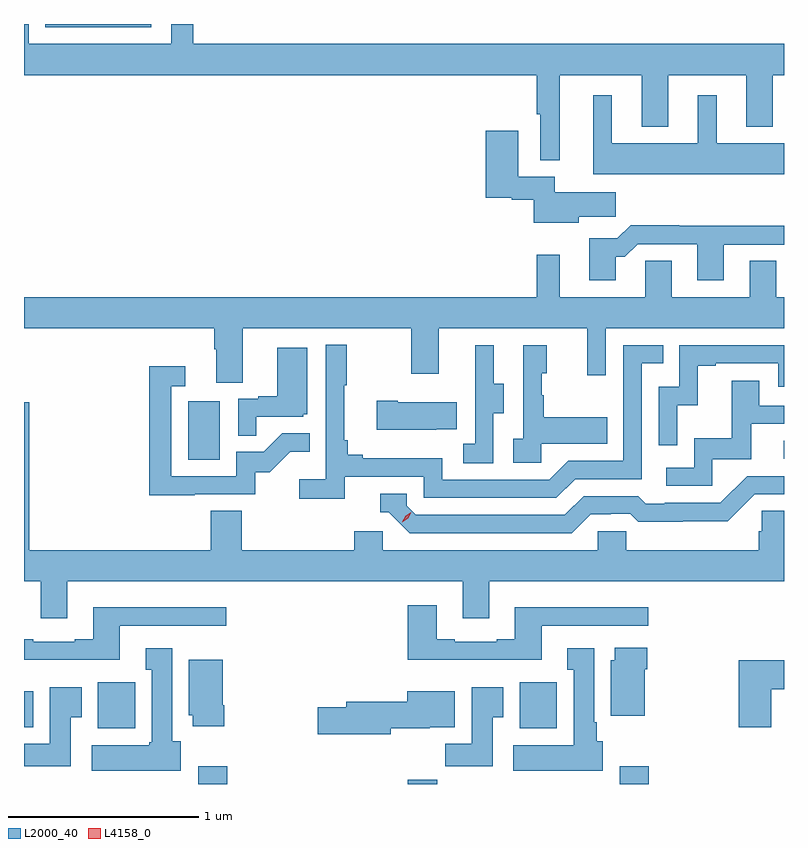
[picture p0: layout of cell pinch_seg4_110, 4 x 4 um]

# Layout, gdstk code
import gdstk
lib = gdstk.Library(unit=1e-6, precision=1e-09)
def R(c, l, rs):  # rectangles x0, y0, x1, y1
    for r in rs: c.add(gdstk.rectangle(r[:2], r[2:], *l))
def P(c, l, *ps):  # polygons
    for p in ps: c.add(gdstk.Polygon(p, *l))
L2000_40 = (2000, 40)
L4158_0 = (4158, 0)

pinch_seg4_110 = lib.new_cell('pinch_seg4_110')
R(pinch_seg4_110, L2000_40, [(1058.033,803.745,1058.186,803.839), (1059.137,803.745,1059.293,803.768), (1060.253,803.745,1060.406,803.839), (1057.505,804.038,1057.702,804.28), (1059.725,804.038,1059.922,804.28), (1057.117,804.044,1057.165,804.232), (1057.982,805.452,1058.146,805.759), (1061.115,805.458,1061.117,805.551), (1057.23,807.729,1057.788,807.745)])
P(pinch_seg4_110, L2000_40, [(1059.937,807.476),(1060.367,807.476),(1060.367,807.203),(1060.507,807.203),(1060.507,807.476),(1060.919,807.476),(1060.919,807.203),(1061.059,807.203),(1061.059,807.476),(1061.117,807.476),(1061.117,807.64),(1058.009,807.64),(1058.009,807.745),(1057.893,807.745),(1057.893,807.64),(1057.141,807.64),(1057.141,807.745),(1057.117,807.745),(1057.117,807.476),(1059.816,807.476),(1059.816,807.271),(1059.833,807.271),(1059.833,807.027),(1059.937,807.027)],
  [(1061.117,807.118),(1060.762,807.118),(1060.762,807.37),(1060.664,807.37),(1060.664,807.118),(1060.21,807.118),(1060.21,807.37),(1060.112,807.37),(1060.112,806.954),(1061.117,806.954)],
  [(1060.036,806.731),(1060.231,806.731),(1060.231,806.86),(1059.91,806.86),(1059.91,806.941),(1059.718,806.941),(1059.718,807.184),(1059.548,807.184),(1059.548,806.831),(1059.684,806.831),(1059.684,806.819),(1059.8,806.819),(1059.8,806.699),(1060.036,806.699)],
  [(1060.231,806.519),(1060.28,806.519),(1060.347,806.586),(1060.661,806.586),(1060.661,806.397),(1060.801,806.397),(1060.801,806.583),(1061.117,806.583),(1061.117,806.684),(1060.565,806.684),(1060.565,806.687),(1060.31,806.687),(1060.24,806.617),(1060.091,806.617),(1060.091,806.397),(1060.231,806.397)],
  [(1058.269,806.144),(1059.154,806.144),(1059.154,805.905),(1059.301,805.905),(1059.301,806.144),(1060.082,806.144),(1060.082,805.896),(1060.179,805.896),(1060.179,806.144),(1061.117,806.144),(1061.117,806.308),(1061.077,806.308),(1061.077,806.498),(1060.937,806.498),(1060.937,806.308),(1060.525,806.308),(1060.525,806.498),(1060.386,806.498),(1060.386,806.308),(1059.937,806.308),(1059.937,806.53),(1059.816,806.53),(1059.816,806.308),(1057.117,806.308),(1057.117,806.144),(1058.117,806.144),(1058.117,806.032),(1058.129,806.032),(1058.129,805.858),(1058.269,805.858)],
  [(1058.804,805.362),(1059.222,805.362),(1059.222,805.251),(1059.919,805.251),(1060.018,805.35),(1060.368,805.35),(1060.368,805.959),(1060.481,805.959),(1060.481,806.055),(1060.272,806.055),(1060.272,805.446),(1059.981,805.446),(1059.882,805.347),(1059.318,805.347),(1059.318,805.459),(1058.899,805.459),(1058.899,805.478),(1058.822,805.478),(1058.822,805.555),(1058.803,805.555),(1058.803,805.843),(1058.815,805.843),(1058.815,806.056),(1058.706,806.056),(1058.706,805.348),(1058.565,805.348),(1058.565,805.246),(1058.804,805.246)],
  [(1060.554,805.739),(1060.664,805.739),(1060.664,805.947),(1060.759,805.947),(1060.759,805.959),(1061.088,805.959),(1061.088,805.836),(1061.117,805.836),(1061.117,806.055),(1060.566,806.055),(1060.566,805.836),(1060.458,805.836),(1060.458,805.527),(1060.554,805.527)],
  [(1059.84,805.535),(1060.187,805.535),(1060.187,805.675),(1059.853,805.675),(1059.853,805.79),(1059.843,805.79),(1059.843,805.908),(1059.868,805.908),(1059.868,806.053),(1059.744,806.053),(1059.744,805.562),(1059.693,805.562),(1059.693,805.437),(1059.84,805.437)],
  [(1059.588,805.696),(1059.643,805.696),(1059.643,805.851),(1059.589,805.851),(1059.589,806.053),(1059.491,806.053),(1059.491,805.839),(1059.492,805.839),(1059.492,805.535),(1059.429,805.535),(1059.429,805.432),(1059.588,805.432)],
  [(1058.339,805.677),(1058.586,805.677),(1058.586,805.692),(1058.608,805.692),(1058.608,806.041),(1058.45,806.041),(1058.45,805.786),(1058.351,805.786),(1058.351,805.773),(1058.244,805.773),(1058.244,805.579),(1058.339,805.579)],
  [(1058.015,805.269),(1058.334,805.269),(1058.334,805.386),(1058.41,805.386),(1058.517,805.493),(1058.621,805.493),(1058.621,805.592),(1058.477,805.592),(1058.379,805.494),(1058.235,805.494),(1058.235,805.365),(1057.893,805.365),(1057.893,805.839),(1057.966,805.839),(1057.966,805.945),(1057.777,805.945),(1057.777,805.264),(1058.015,805.264)],
  [(1060.74,805.455),(1060.945,805.455),(1060.945,805.641),(1061.117,805.641),(1061.117,805.737),(1060.987,805.737),(1060.987,805.867),(1060.843,805.867),(1060.843,805.564),(1060.644,805.564),(1060.644,805.41),(1060.497,805.41),(1060.497,805.314),(1060.74,805.314)],
  [(1059.287,805.613),(1059.395,805.613),(1059.395,805.753),(1059.085,805.753),(1059.085,805.761),(1058.973,805.761),(1058.973,805.61),(1059.287,805.61)],
  [(1057.345,804.812),(1059.425,804.812),(1059.425,804.618),(1059.565,804.618),(1059.565,804.812),(1061.117,804.812),(1061.117,805.184),(1060.999,805.184),(1060.999,805.074),(1060.985,805.074),(1060.985,804.976),(1060.287,804.976),(1060.287,805.074),(1060.137,805.074),(1060.137,804.976),(1059.006,804.976),(1059.006,805.074),(1058.855,805.074),(1058.855,804.976),(1058.264,804.976),(1058.264,805.184),(1058.099,805.184),(1058.099,804.976),(1057.145,804.976),(1057.145,805.755),(1057.117,805.755),(1057.117,804.812),(1057.205,804.812),(1057.205,804.618),(1057.345,804.618)],
  [(1060.099,805.164),(1060.206,805.164),(1060.206,805.167),(1060.309,805.167),(1060.351,805.125),(1060.584,805.125),(1060.584,805.127),(1060.82,805.127),(1060.962,805.269),(1061.117,805.269),(1061.117,805.365),(1060.923,805.365),(1060.782,805.224),(1060.489,805.224),(1060.489,805.221),(1060.39,805.221),(1060.351,805.26),(1060.062,805.26),(1059.963,805.161),(1059.18,805.161),(1059.132,805.209),(1059.132,805.272),(1058.993,805.272),(1058.993,805.176),(1059.036,805.176),(1059.147,805.065),(1060,805.065)],
  [(1059.841,804.579),(1060.402,804.579),(1060.402,804.676),(1059.701,804.676),(1059.701,804.508),(1059.605,804.508),(1059.605,804.495),(1059.385,804.495),(1059.385,804.508),(1059.289,804.508),(1059.289,804.685),(1059.137,804.685),(1059.137,804.398),(1059.841,804.398)],
  [(1057.621,804.579),(1058.182,804.579),(1058.182,804.676),(1057.481,804.676),(1057.481,804.508),(1057.385,804.508),(1057.385,804.495),(1057.165,804.495),(1057.165,804.508),(1057.117,804.508),(1057.117,804.398),(1057.621,804.398)],
  [(1060.384,804.35),(1060.397,804.35),(1060.397,804.463),(1060.226,804.463),(1060.226,804.396),(1060.205,804.396),(1060.205,804.104),(1060.384,804.104)],
  [(1057.942,803.97),(1057.897,803.97),(1057.897,804.46),(1057.757,804.46),(1057.757,804.347),(1057.79,804.347),(1057.79,803.964),(1057.777,803.964),(1057.777,803.95),(1057.473,803.95),(1057.473,803.816),(1057.942,803.816)],
  [(1060.162,803.97),(1060.132,803.97),(1060.132,804.07),(1060.117,804.07),(1060.117,804.46),(1059.977,804.46),(1059.977,804.347),(1060.01,804.347),(1060.01,803.95),(1059.693,803.95),(1059.693,803.816),(1060.162,803.816)],
  [(1058.172,804.16),(1058.164,804.16),(1058.164,804.4),(1057.985,804.4),(1057.985,804.108),(1058.006,804.108),(1058.006,804.048),(1058.172,804.048)],
  [(1061.05,804.245),(1061.117,804.245),(1061.117,804.397),(1060.88,804.397),(1060.88,804.045),(1061.05,804.045)],
  [(1059.583,804.097),(1059.64,804.097),(1059.64,804.253),(1059.473,804.253),(1059.473,803.956),(1059.334,803.956),(1059.334,803.838),(1059.583,803.838)],
  [(1057.363,804.097),(1057.42,804.097),(1057.42,804.253),(1057.253,804.253),(1057.253,803.956),(1057.117,803.956),(1057.117,803.838),(1057.363,803.838)],
  [(1059.048,804.038),(1059.252,804.038),(1059.252,804.044),(1059.385,804.044),(1059.385,804.232),(1059.134,804.232),(1059.134,804.179),(1058.813,804.179),(1058.813,804.149),(1058.664,804.149),(1058.664,804.007),(1059.048,804.007)])
P(pinch_seg4_110, L4158_0, [(1059.108,805.123),(1059.108,805.124),(1059.125,805.156),(1059.156,805.176),(1059.156,805.176),(1059.156,805.175),(1059.139,805.143),(1059.108,805.123)])

lib.write_gds('pinch_seg4_110.gds')
